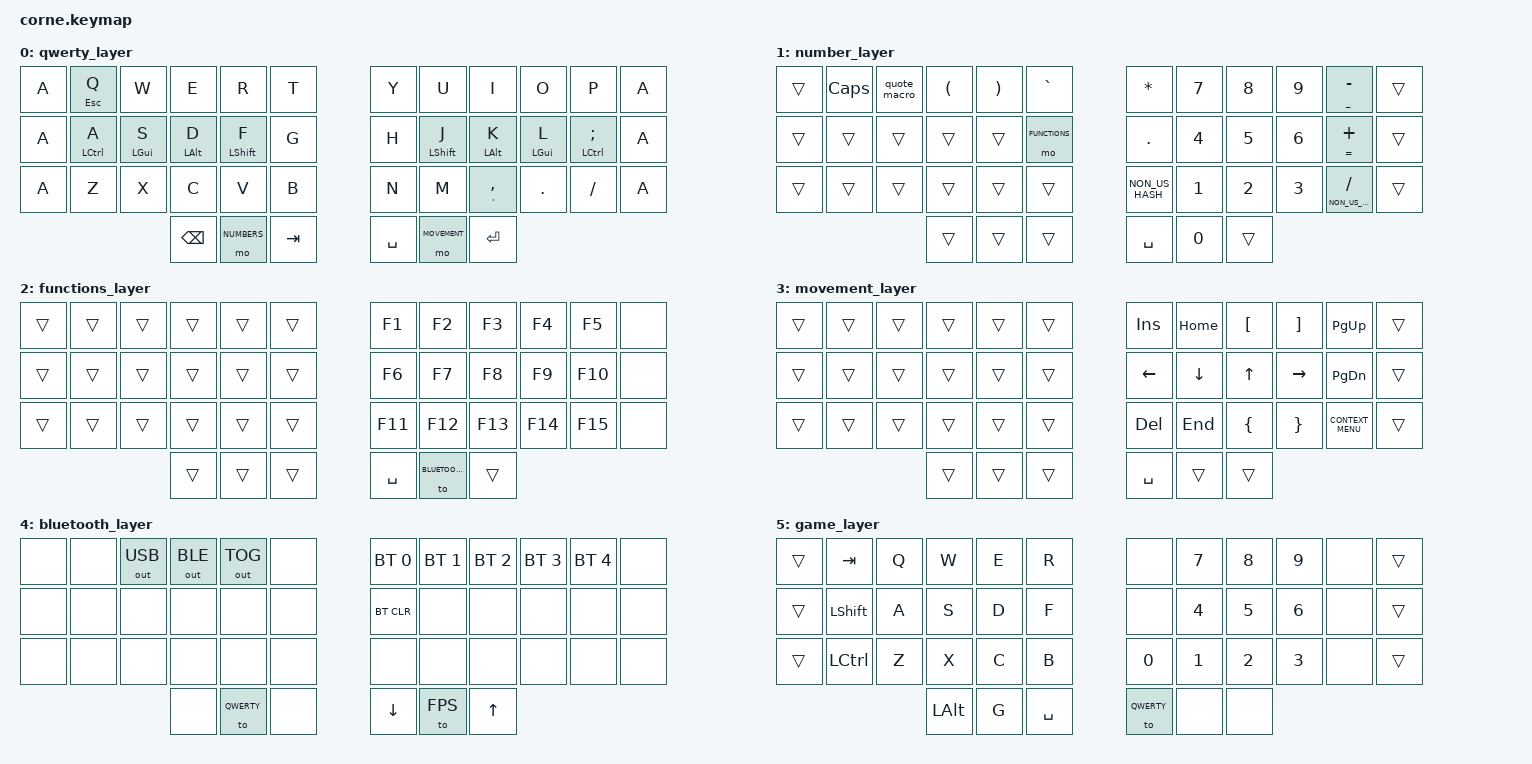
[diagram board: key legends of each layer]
/*
 * Copyright (c) 2020 The ZMK Contributors
 *
 * SPDX-License-Identifier: MIT
 */

#include <behaviors.dtsi>
#include <dt-bindings/zmk/keys.h>
#include <dt-bindings/zmk/outputs.h>
#include <dt-bindings/zmk/bt.h>

#define QWERTY      0
#define NUMBERS     1
#define FUNCTIONS   2
#define MOVEMENT    3
#define BLUETOOTH   4
#define FPS         5

/ {
    macros {
        quote_macro: quote_macro {
            label = "ZM_quote_macro";
            compatible = "zmk,behavior-macro";
            #binding-cells = <0>;
            bindings
                = <&macro_press &kp LSHFT>
                , <&macro_tap &kp NUMBER_2>
                , <&macro_release &kp LSHFT>
                ;
        };
    };
    behaviors {
        bhm: balanced_homerow_mods {
            compatible = "zmk,behavior-hold-tap";
            label = "HOMEROW_MODS";
            #binding-cells = <2>;
            tapping-term-ms = <300>;
            quick-tap-ms = <0>;
            flavor = "tap-preferred";
            bindings = <&kp>, <&kp>;
        };
        td: tapdance {
            compatible = "zmk,behavior-hold-tap";
            label = "TAPDANCE";
            #binding-cells = <2>;
            tapping-term-ms = <150>;
            quick_tap_ms = <0>;
            flavor = "tap-preferred";
            bindings = <&kp>, <&kp>;
        };
        meh: layer_tapdance {
            compatible = "zmk,behavior-hold-tap";
            label = "LAYER_TAPDANCE";
            #binding-cells = <2>;
            tapping-term-ms = <150>;
            quick_tap_ms = <0>;
            flavor = "tap-preferred";
            bindings = <&mo>, <&to>;
        };
    };


        keymap {
                compatible = "zmk,keymap";
                qwerty_layer {
//      --------------------------------------------------------------------------------------------------------------------------------------------------
//      |  Q / ESC     |  W          |  E          |  R            |  T    |        |  Y        |  U            |  I             |  O          |  P             |
//      |  A           |  S          |  D          |  F            |  G    |        |  H        |  J            |  K             |  L          |  ;             |
//      |  Z           |  X          |  C          |  V            |  B    |        |  N        |  M            |  , / '         |  .          |  /             |
//                                   |  BKSP       |  Num Layer    |  TAB  |        |  SPC      |  LAYER +1     |  ENT           |

                        bindings = <
&kp A     &td ESC Q      &kp W         &kp E         &kp R           &kp T            &kp Y       &kp U           &kp I            &kp O         &kp P                  &kp A
&kp A     &bhm LCTRL A   &bhm LGUI S   &bhm LALT D   &bhm LSHIFT F   &kp G            &kp H       &bhm LSHIFT J   &bhm LALT K      &bhm LGUI L   &bhm LCTRL SEMI        &kp A
&kp A     &kp Z          &kp X         &kp C         &kp V           &kp B            &kp N       &kp M           &td APOS COMMA   &kp DOT       &kp FSLH               &kp A
                                       &kp BSPC      &mo NUMBERS     &kp TAB          &kp SPACE   &mo MOVEMENT    &kp RET
                        >;
                };
                number_layer {
//      --------------------------------------------------------------------------------------------------------------------------------------------------
//      |  CAPSLOCK    |  "           |  (       |  )         |  GRAVE        |        |  *              |  7&       |  8*    |  9(    |  - / _                |
//      |  A           |  S           |  D       |  F         |  F layer      |        |  .>             |  4$       |  5%    |  6^    |  + / =                |
//      |  Z           |  X           |  C       |  V         |  B            |        |  #~             |  1!       |  2"    |  3£    |  /? / \|              |
//                                    |  BKSP    |  Num Layer |  TAB          |        |  SPC            |  0)       |  ENT   |

                        bindings = <
&trans    &kp CAPSLOCK   &quote_macro   &kp LPAR   &kp RPAR    &kp GRAVE                &kp STAR          &kp N7      &kp N8   &kp N9   &td UNDERSCORE MINUS            &trans
&trans    &trans         &trans         &trans     &trans      &mo FUNCTIONS            &kp DOT           &kp N4      &kp N5   &kp N6   &td EQUAL PLUS                  &trans
&trans    &trans         &trans         &trans     &trans      &trans                   &kp NON_US_HASH   &kp N1      &kp N2   &kp N3   &td NON_US_BACKSLASH SLASH      &trans
                                        &trans     &trans      &trans                   &kp SPACE         &kp N0      &trans
                        >;
                };
                functions_layer {
//      --------------------------------------------------------------------------------------------------------------------------------------------------
//      |  Q / ESQ     |  W          |  E          |  R            |  T    |        |  F1       |  F2           |  F3    |  F4    |  F5
//      |  A           |  S          |  D          |  F            |  G    |        |  F6       |  F7           |  F8    |  F9    |  F10
//      |  Z           |  X          |  C          |  V            |  B    |        |  F11      |  F12          |  F13   |  F14   |  F15
//                                   |  BKSP       |  LAYER 0      |  TAB  |        |  SPC      |  to bluetooth |  ENT   |

                               bindings = <
&trans    &trans         &trans        &trans        &trans          &trans           &kp F1      &kp F2          &kp F3    &kp F4    &kp F5    &none
&trans    &trans         &trans        &trans        &trans          &trans           &kp F6      &kp F7          &kp F8    &kp F9    &kp F10   &none
&trans    &trans         &trans        &trans        &trans          &trans           &kp F11     &kp F12         &kp F13   &kp F14   &kp F15   &none
                                       &trans        &trans          &trans           &kp SPACE   &to BLUETOOTH   &trans
                        >;
                };
                movement_layer {
//      --------------------------------------------------------------------------------------------------------------------------------------------------
//      |  Q / ESQ     |  W          |  E          |  R            |  T    |        |  INSERT      |  HOME      |  [             |  ]              |  page up           |
//      |  A           |  S          |  D          |  F            |  G    |        |  left        |  down      |  up            |  right          |  page down         |
//      |  Z           |  X          |  C          |  V            |  B    |        |  DELETE      |  END       |  {             |  }              |  Menu Key          |
//                                   |  BKSP       |  LAYER 0      |  TAB  |        |  SPC         |  LAYER +1  |  ENT           |

                               bindings = <
&trans    &trans         &trans        &trans        &trans          &trans           &kp INSERT   &kp HOME       &kp LBKT         &kp RBKT          &kp PAGE_UP               &trans
&trans    &trans         &trans        &trans        &trans          &trans           &kp LEFT     &kp DOWN       &kp UP           &kp RIGHT         &kp PAGE_DOWN             &trans
&trans    &trans         &trans        &trans        &trans          &trans           &kp DELETE   &kp END        &kp LEFT_BRACE   &kp RIGHT_BRACE   &kp K_CONTEXT_MENU        &trans
                                       &trans        &trans          &trans           &kp SPACE    &trans         &trans
                        >;
                };
                bluetooth_layer{
                        bindings = <
&none    &none         &out OUT_USB  &out OUT_BLE  &out OUT_TOG        &none             &bt BT_SEL 0     &bt BT_SEL 1   &bt BT_SEL 2   &bt BT_SEL 3   &bt BT_SEL 4     &none
&none    &none         &none         &none         &none               &none             &bt BT_CLR       &none          &none          &none          &none            &none
&none    &none         &none         &none         &none               &none             &none            &none          &none          &none          &none            &none
                                     &none         &to QWERTY          &none             &kp DOWN         &to FPS        &kp UP
                        >;
                };
                game_layer {
//      --------------------------------------------------------------------------------------------------------------------------------------------------
//      |  TAB          |  Q    |  W      |  E          |  R               |        |          |         |            |         |       |
//      |  LSHIFT       |  A    |  S      |  D          |  F               |        |          |         |            |         |       |
//      |  LCTRL        |  Z    |  X      |  C          |  B               |        |          |         |            |         |       |
//                              |  BKSP   |  LAYER 0    |  SPC             |        |          |         |            |         |       |

                        bindings = <
&trans    &kp TAB         &kp Q    &kp W     &kp E         &kp R                        &none         &kp N7      &kp N8      &kp N9   &none    &trans
&trans    &kp LSHIFT      &kp A    &kp S     &kp D         &kp F                        &none         &kp N4      &kp N5      &kp N6   &none    &trans
&trans    &kp LCTRL       &kp Z    &kp X     &kp C         &kp B                        &kp N0        &kp N1      &kp N2      &kp N3   &none    &trans
                                   &kp LALT  &kp G         &kp SPACE                    &to QWERTY    &none       &none
                        >;
                };

        };
};
